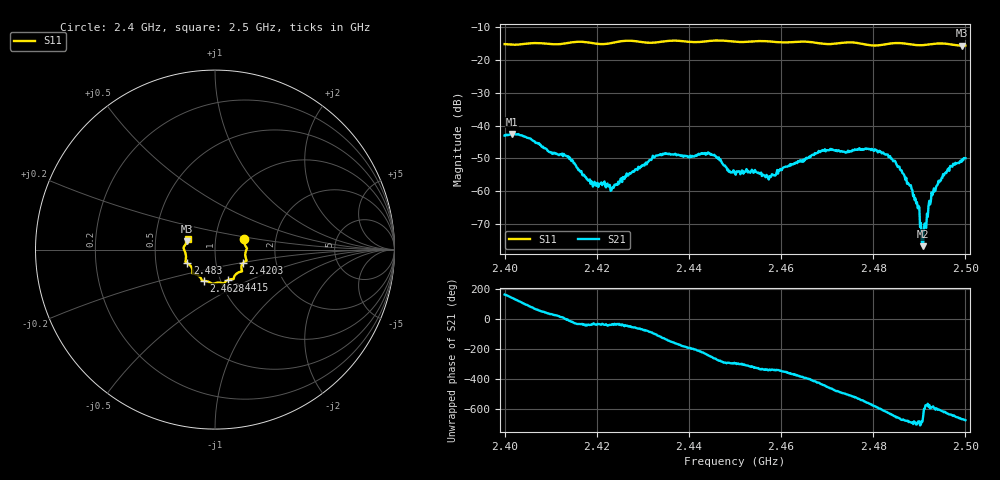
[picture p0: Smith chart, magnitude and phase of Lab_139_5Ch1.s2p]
# Hz S RI R 50
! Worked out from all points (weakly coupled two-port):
!   601 points, 2.4 GHz to 2.5 GHz, reference 50 ohm
!   highest |S21| = -42.52 dB at 2.4017 GHz (marker M1); lowest = -76.6 dB at 2.4908 GHz (marker M2)
!   lowest |S11| = -15.8 dB at 2.4992 GHz (marker M3), VSWR 1.39, Z = 36.4 + j3.51 ohm
!   |S11| at or under -10 dB: start of sweep to end of sweep
!   S12 and S22 are empty: the file has one direction only
!   S11 on the Smith chart (normalised r, x): 2.4 GHz: 1.38, +0.16; 2.4203 GHz: 1.35, -0.21; 2.4415 GHz: 1.09, -0.38; 2.4628 GHz: 0.83, -0.30; 2.483 GHz: 0.73, -0.11; 2.5 GHz: 0.73, +0.09
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2.4e9  0.1619 0.0567  -0.00684 0.00169  0 0  0 0
2.401667e9  0.1636 0.0392  -0.00599 0.00448  0 0  0 0
2.413333e9  0.1707 -0.0452  0.00347 8.96e-05  0 0  0 0
2.416667e9  0.1755 -0.062  0.00172 -0.00108  0 0  0 0
2.420333e9  0.1559 -0.0746  0.000994 -0.000618  0 0  0 0
2.4235e9  0.1472 -0.1034  0.000991 -0.000627  0 0  0 0
2.433333e9  0.1082 -0.1481  -0.00125 -0.00332  0 0  0 0
2.4415e9  0.0732 -0.1688  -0.00325 0.00139  0 0  0 0
2.445333e9  0.0509 -0.187  -0.000555 0.0035  0 0  0 0
2.45e9  0.0296 -0.1844  0.000778 0.0017  0 0  0 0
2.4575e9  -0.0205 -0.1873  0.00155 0.000702  0 0  0 0
2.462833e9  -0.0626 -0.1744  0.00261 -0.000555  0 0  0 0
2.466667e9  -0.0751 -0.1676  0.00243 -0.00259  0 0  0 0
2.478667e9  -0.1262 -0.1104  -0.00417 0.00152  0 0  0 0
2.483e9  -0.1542 -0.0765  -0.000521 0.00359  0 0  0 0
2.483333e9  -0.1563 -0.0752  -0.000115 0.0033  0 0  0 0
2.488e9  -0.1623 -0.0523  0.00106 0.000614  0 0  0 0
2.4895e9  -0.162 -0.0356  0.000657 0.000197  0 0  0 0
2.490833e9  -0.1648 -0.0195  5.18e-05 0.000139  0 0  0 0
2.493167e9  -0.1737 0.0019  -0.000656 0.000897  0 0  0 0
2.499167e9  -0.1557 0.047  0.00178 0.00217  0 0  0 0
2.5e9  -0.1531 0.0577  0.00232 0.0022  0 0  0 0
